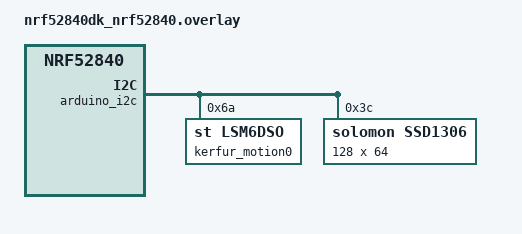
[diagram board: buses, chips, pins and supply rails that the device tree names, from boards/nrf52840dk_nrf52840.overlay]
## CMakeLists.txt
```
cmake_minimum_required(VERSION 3.20.0)

# CMake 4.1 on Windows can occasionally fail to materialize the platform-info
# directory before compiler detection writes CMake*Compiler.cmake files.
file(MAKE_DIRECTORY "${CMAKE_BINARY_DIR}/CMakeFiles/${CMAKE_VERSION}")

set(KERFUR_CONF_FILE "${CONF_FILE}")
if(NOT DEFINED CONF_FILE OR "${CONF_FILE}" STREQUAL "")
    set(KERFUR_CONF_FILE "${CMAKE_CURRENT_SOURCE_DIR}/prj.conf")
endif()

if("${BOARD}" STREQUAL "nice_nano" AND
   NOT "${KERFUR_CONF_FILE}" MATCHES "(^|[ ;])[^ ;]*prj_release\\.conf($|[ ;])")
    list(APPEND EXTRA_DTC_OVERLAY_FILE
         ${CMAKE_CURRENT_SOURCE_DIR}/boards/nice_nano_usb.overlay)
endif()

list(APPEND BOARD_ROOT ${CMAKE_CURRENT_SOURCE_DIR})
list(APPEND SHIELD_ROOT ${CMAKE_CURRENT_SOURCE_DIR})
find_package(Zephyr REQUIRED HINTS $ENV{ZEPHYR_BASE})
find_package(Python3 REQUIRED COMPONENTS Interpreter)

project(kerfur)

target_include_directories(app PRIVATE include)

set(KERFUR_FACE_JSON ${CMAKE_CURRENT_SOURCE_DIR}/assets/face/kerfur_faces.json)
set(KERFUR_FACE_CODEGEN ${CMAKE_CURRENT_SOURCE_DIR}/tools/face_codegen.py)
set(KERFUR_FACE_GEN_INCLUDE_DIR ${CMAKE_CURRENT_SOURCE_DIR}/include/ui/generated)
set(KERFUR_FACE_GEN_SRC_DIR ${CMAKE_CURRENT_SOURCE_DIR}/src/ui/generated)
set(KERFUR_FACE_GEN_HEADERS
    ${KERFUR_FACE_GEN_INCLUDE_DIR}/kerfur_face_assets.h
    ${KERFUR_FACE_GEN_INCLUDE_DIR}/kerfur_face_recipes.h
)
set(KERFUR_FACE_GEN_SOURCES
    ${KERFUR_FACE_GEN_SRC_DIR}/kerfur_face_assets.c
    ${KERFUR_FACE_GEN_SRC_DIR}/kerfur_face_recipes.c
)

file(GLOB_RECURSE KERFUR_FACE_ASSET_INPUTS
    RELATIVE ${CMAKE_CURRENT_SOURCE_DIR}
    assets/face/*.svg
    assets/face/*.json
    assets/face/*.bin
)
list(TRANSFORM KERFUR_FACE_ASSET_INPUTS PREPEND ${CMAKE_CURRENT_SOURCE_DIR}/)

add_custom_command(
    OUTPUT ${KERFUR_FACE_GEN_HEADERS} ${KERFUR_FACE_GEN_SOURCES}
    COMMAND ${Python3_EXECUTABLE} ${KERFUR_FACE_CODEGEN}
            --input ${KERFUR_FACE_JSON}
            --out-include ${KERFUR_FACE_GEN_INCLUDE_DIR}
            --out-src ${KERFUR_FACE_GEN_SRC_DIR}
    DEPENDS ${KERFUR_FACE_CODEGEN} ${KERFUR_FACE_ASSET_INPUTS}
    COMMENT "Generating Kerfur face assets and recipes"
    VERBATIM
)

target_sources(app PRIVATE
    src/main.c
    src/app/app.c
    src/core/event_bus.c
    src/behavior/appraisal.c
    src/behavior/behavior_engine.c
    src/behavior/micro_reaction.c
    src/display/display_policy.c
    src/ui/ui_renderer.c
    src/ui/face_runtime.c
    ${KERFUR_FACE_GEN_SOURCES}
    src/drivers/motion_sensor.c
    src/drivers/motion_classifier.c
    src/drivers/in_hand_detector.c
    src/drivers/mock_inputs.c
    src/drivers/touch_input.c
    src/drivers/touch_gestures.c
    src/power/power_manager.c
    src/ble/ble_manager.c
)

if(CONFIG_KERFUR_EMOTION_MEMORY)
    target_sources(app PRIVATE src/behavior/emotion_memory.c)
endif()

if(CONFIG_KERFUR_BATTERY)
    target_sources(app PRIVATE src/power/battery_monitor.c)
    if(CONFIG_KERFUR_CHARGER_BQ2563X)
        target_sources(app PRIVATE src/power/bq25630.c)
    endif()
endif()

if(CONFIG_KERFUR_TOUCH_IQS7222A)
    target_sources(app PRIVATE
        src/drivers/iqs7222a.c
        src/drivers/kerfur_iqs7222a_config.c
    )
endif()

if(CONFIG_KERFUR_ENABLE_NEARBY)
    target_sources(app PRIVATE
        src/nearby/kerfur_nearby.c
        src/nearby/encounter_log.c
    )
endif()

if(CONFIG_KERFUR_ENABLE_SHELL_CMDS)
    target_sources(app PRIVATE
        src/ble/ble_shell.c
    )
endif()
```

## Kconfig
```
source "Kconfig.zephyr"

menu "Kerfur Firmware"

config KERFUR_ENABLE_BLE
	bool "Enable Kerfur BLE connectivity stack"
	default y
	help
	  Enables connectable advertising, Kerfur GATT services and BLE event
	  plumbing used by iOS ANCS and Android companion integrations.

config KERFUR_ENABLE_ANCS
	bool "Enable iOS ANCS notification intake over BLE"
	default y
	depends on KERFUR_ENABLE_BLE
	help
	  Discovers and subscribes to Apple's ANCS Notification Source on
	  paired iOS devices. Incoming ANCS "notification added" events are
	  mapped to APP_EVENT_PHONE_NOTIFICATION.

config KERFUR_ENABLE_ANS_FALLBACK
	bool "Enable Alert Notification Service fallback client"
	default y
	depends on KERFUR_ENABLE_BLE
	help
	  Enables discovery of standard Alert Notification Service (UUID 0x1811)
	  on connected phones when ANCS is not available. This is best-effort:
	  many Android phones do not expose ANS at OS level.

config KERFUR_ENABLE_KEYRING_PROFILE
	bool "Enable keyring Find Me / Proximity profile"
	default n
	depends on KERFUR_ENABLE_BLE
	select BT_IAS
	select BT_TPS
	help
	  Enables standard BLE services typically used by key finder accessories:
	  Immediate Alert Service (0x1802), Link Loss Service (0x1803), and
	  TX Power Service (0x1804). This improves interoperability with generic
	  BLE tooling and keeps the device aligned with keyring appearance.

config KERFUR_ENABLE_COMPANION
	bool "Enable custom companion BLE channel (optional)"
	default n
	depends on KERFUR_ENABLE_BLE
	help
	  Enables custom Kerfur companion RX/TX characteristics for use with an
	  Android companion app. Keep disabled to minimize BLE footprint.

config KERFUR_ENABLE_RSC_SERVICE
	bool "Enable Running Speed and Cadence service scaffold"
	default n
	depends on KERFUR_ENABLE_BLE
	help
	  Exposes standard RSCS (UUID 0x1814) as future foundation for
	  pedometer/step cadence telemetry without custom BLE service.

config KERFUR_ENABLE_NEARBY
	bool "Enable Kerfur-to-Kerfur nearby detection"
	default y
	depends on KERFUR_ENABLE_BLE
	select BT_OBSERVER
	help
	  Enables an anonymous Kerfur nearby beacon (in scan response
	  manufacturer data) and a duty-cycled active scanner that tracks
	  other Kerfur devices, runs a small encounter state machine, and
	  feeds peer events into the behavior engine.

if KERFUR_ENABLE_NEARBY

config KERFUR_NEARBY_PEER_TABLE_SIZE
	int "Max tracked nearby peers"
	range 2 16
	default 8

config KERFUR_NEARBY_ENCOUNTER_LOG_SIZE
	int "Encounter log ring buffer size"
	range 4 64
	default 16

config KERFUR_NEARBY_RSSI_NEAR_DBM
	int "RSSI threshold to enter NEAR (dBm)"
	range -100 -30
	default -75

config KERFUR_NEARBY_RSSI_LOST_DBM
	int "RSSI hysteresis to leave NEAR (dBm)"
	range -100 -30
	default -90

config KERFUR_NEARBY_INTERACT_HOLD_MS
	int "Time stable in NEAR before INTERACTING (ms)"
	range 500 30000
	default 3000

config KERFUR_NEARBY_COOLDOWN_MS
	int "Cooldown after encounter ends (ms)"
	range 5000 600000
	default 60000

config KERFUR_NEARBY_ID_ROTATE_S
	int "Ephemeral id rotation period (s)"
	range 60 86400
	default 900

config KERFUR_NEARBY_MAX_FRIENDS
	int "Maximum confirmed-friend slots"
	range 0 128
	default 64
	help
	  Number of confirmed-friend relationships stored in settings and
	  recognized across ephemeral ID rotation. Set to 0 to disable
	  persistent friend recognition.

endif

config KERFUR_ENABLE_SHELL_CMDS
	bool "Enable Kerfur USB shell BLE maintenance commands"
	default y
	depends on KERFUR_ENABLE_BLE && SHELL
	help
	  Enables `kerfur ble ...` shell commands on USB serial backend.

config KERFUR_ENABLE_FACE_SHELL_CMDS
	bool "Enable Kerfur face debug shell commands"
	default n
	depends on KERFUR_ENABLE_SHELL_CMDS && KERFUR_FACE_DEBUG
	help
	  Enables `kerfur face ...` shell commands for debug-only expression,
	  reaction, gaze, carry-state and battery injection. Keep disabled in
	  normal builds so the face debug shell surface is compiled out.

config KERFUR_ENABLE_MOCK_INPUTS
	bool "Enable periodic mock external events"
	default y
	help
	  Keeps the pet behavior active before all real sensors are added.

config KERFUR_UI
	bool "Enable Kerfur OLED/LVGL UI"
	default y
	depends on DISPLAY && LVGL
	help
	  Enables the OLED/LVGL face renderer and face asset pipeline. Disable this
	  for a headless BLE or sensor test build that should keep running without a
	  display.

config KERFUR_MOTION
	bool "Enable Kerfur motion sensing and classification"
	default y
	select SENSOR
	imply LSM6DSO
	imply LSM6DSO_TILT
	help
	  Enables the IMU abstraction, motion classifier, pickup and in-hand
	  detection, and tilt-driven gaze integration. If no `motion0` DT alias
	  exists, the firmware still builds and the motion stack remains disabled
	  at runtime.

if KERFUR_MOTION

config KERFUR_MOTION_IDLE_ODR_HZ
	int "Idle accelerometer sampling rate (Hz)"
	range 1 26
	default 12
	help
	  Target low-power accelerometer rate while waiting for motion wake.

config KERFUR_MOTION_ACTIVE_ODR_HZ
	int "Active accelerometer sampling rate (Hz)"
	range 12 104
	default 26
	help
	  Target accelerometer rate used during active classification windows.

config KERFUR_MOTION_ACTIVE_WINDOW_MS
	int "Active classification window (ms)"
	range 500 10000
	default 3000
	help
	  Duration of the motion analysis burst after a wake trigger.

config KERFUR_MOTION_STEP_BATCH_SIZE
	int "Step batch publish size"
	range 1 32
	default 8
	help
	  Number of accumulated steps before publishing APP_EVENT_STEP_BATCH.

config KERFUR_MOTION_WALK_START_THRESHOLD
	int "Walking start confidence threshold"
	range 1 100
	default 70
	help
	  Walking begins when confidence reaches this threshold.

config KERFUR_MOTION_WALK_STOP_THRESHOLD
	int "Walking stop confidence threshold"
	range 1 100
	default 45
	help
	  Walking ends when confidence falls below this threshold.

config KERFUR_MOTION_GAZE_RATE_HZ
	int "Maximum tilt gaze update rate (Hz)"
	range 1 20
	default 10
	help
	  Maximum rate for LOOK_TARGET updates while tracking in-hand tilt.

config KERFUR_MOTION_GAZE_TILT_DIVISOR_MG
	int "Tilt amount needed for full-scale gaze target (mg)"
	range 80 600
	default 170
	help
	  Lower values make pupils react more strongly to tilt. This is applied
	  after board axis remapping and relative in-hand neutral capture.

config KERFUR_MOTION_AXIS_SWAP_XY
	bool "Swap motion sensor X and Y axes"
	default n
	help
	  Use when the IMU is mounted rotated 90 degrees relative to the display.

config KERFUR_MOTION_AXIS_INVERT_X
	bool "Invert motion sensor X axis"
	default n
	help
	  Use when left-right tilt is mirrored relative to the display.

config KERFUR_MOTION_AXIS_INVERT_Y
	bool "Invert motion sensor Y axis"
	default n
	help
	  Use when up-down tilt is mirrored relative to the display.

config KERFUR_MOTION_AXIS_INVERT_Z
	bool "Invert motion sensor Z axis"
	default n
	help
	  Use when the IMU is mounted on the opposite side of the display plane.

endif

config KERFUR_IDLE_TIMEOUT_S
	int "Idle timeout (seconds)"
	range 5 3600
	default 45
	help
	  Time without real user interaction before APP_EVENT_IDLE_TIMEOUT.

config KERFUR_DISPLAY_BLANK_TIMEOUT_S
	int "Display blank timeout (seconds)"
	range 10 7200
	default 90
	help
	  Time without real user interaction before display blanking.

config KERFUR_SLEEP_REQUEST_TIMEOUT_S
	int "Sleep request timeout (seconds)"
	range 20 14400
	default 180
	help
	  Time without real user interaction before APP_EVENT_SLEEP_REQUEST.

config KERFUR_UI_FRAME_MS
	int "UI frame period (milliseconds)"
	range 50 1000
	default 120
	help
	  Controls renderer update cadence. Lower is smoother and costs power.

config KERFUR_TRACE_EVENTS
	bool "Verbose app event/state tracing"
	default y
	help
	  Adds extra runtime logs in app/core/behavior/power paths for
	  easier bring-up and troubleshooting.

config KERFUR_FACE_DEBUG
	bool "Enable modular face debug hooks"
	default y
	help
	  Enables face-state debug events and shell-triggered dump plumbing for
	  the modular face rewrite.

config KERFUR_FACE_DEBUG_VERBOSE
	bool "Enable verbose modular face debug logging"
	default n
	depends on KERFUR_FACE_DEBUG
	help
	  Adds detailed face snapshot logs for look/carry/battery updates and
	  debug-dump requests.

endmenu
```

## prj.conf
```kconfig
CONFIG_LOG=y
CONFIG_LOG_DEFAULT_LEVEL=3
CONFIG_LOG_BACKEND_UART=y

CONFIG_ASSERT=y
CONFIG_MAIN_STACK_SIZE=4096

CONFIG_SERIAL=y
CONFIG_CONSOLE=y
CONFIG_UART_CONSOLE=y
CONFIG_STDOUT_CONSOLE=y
CONFIG_UART_LINE_CTRL=y
CONFIG_SHELL=y
CONFIG_SHELL_BACKEND_SERIAL=y
CONFIG_SHELL_BACKEND_SERIAL_CHECK_DTR=y
CONFIG_KERFUR_ENABLE_SHELL_CMDS=y

CONFIG_USB_DEVICE_STACK=y
CONFIG_USB_DEVICE_STACK_NEXT=n
CONFIG_USB_DEVICE_INITIALIZE_AT_BOOT=y
CONFIG_USB_DEVICE_PRODUCT="Kerfur USB Logs"
CONFIG_USB_DEVICE_PID=0x0004
CONFIG_USB_CDC_ACM=y

CONFIG_GPIO=y
CONFIG_I2C=y
CONFIG_SENSOR=y
CONFIG_LSM6DSO_TRIGGER_OWN_THREAD=y
CONFIG_LSM6DSO_TILT=y
CONFIG_DISPLAY=y
CONFIG_SSD1306=y
CONFIG_SSD1306_DEFAULT_CONTRAST=255
CONFIG_LVGL=y
CONFIG_LV_Z_MEM_POOL_SIZE=8192
CONFIG_LV_Z_RUN_LVGL_ON_WORKQUEUE=n
CONFIG_LV_USE_LOG=n

CONFIG_BT=y
CONFIG_BT_PERIPHERAL=y
CONFIG_BT_OBSERVER=y
CONFIG_BT_DEVICE_NAME="Kerfur"
CONFIG_BT_DEVICE_APPEARANCE=576
CONFIG_BT_MAX_CONN=1
CONFIG_BT_GATT_CLIENT=y
CONFIG_BT_GATT_AUTO_DISCOVER_CCC=y
# The firmware re-discovers and subscribes ANCS/ANS on every connection.
# Do not let Zephyr retain subscription params across disconnects.
CONFIG_BT_GATT_AUTO_RESUBSCRIBE=n
CONFIG_BT_BAS=y
CONFIG_BT_DIS=y
CONFIG_BT_SMP=y
CONFIG_BT_BONDABLE=y
CONFIG_BT_SMP_ENFORCE_MITM=n
CONFIG_BT_MAX_PAIRED=4
CONFIG_BT_SETTINGS=y
CONFIG_BT_KEYS_OVERWRITE_OLDEST=y
CONFIG_BT_SECURITY_ERR_TO_STR=y
CONFIG_BT_GATT_SERVICE_CHANGED=y
CONFIG_BT_GATT_CACHING=y

CONFIG_FLASH=y
CONFIG_FLASH_MAP=y
CONFIG_NVS=y
CONFIG_SETTINGS=y
CONFIG_SETTINGS_NVS=y

CONFIG_KERFUR_MOTION=y
# CONFIG_KERFUR_MOTION_AXIS_INVERT_X=y
# CONFIG_KERFUR_MOTION_AXIS_INVERT_Y=y
CONFIG_KERFUR_MOTION_GAZE_TILT_DIVISOR_MG=80
CONFIG_KERFUR_FACE_DEBUG=y
CONFIG_KERFUR_ENABLE_FACE_SHELL_CMDS=y
CONFIG_KERFUR_ENABLE_MOCK_INPUTS=n
CONFIG_KERFUR_ENABLE_ANCS=y
```

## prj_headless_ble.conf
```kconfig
CONFIG_KERFUR_UI=n
CONFIG_DISPLAY=n
CONFIG_LVGL=n
CONFIG_SSD1306=n
```

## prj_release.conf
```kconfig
CONFIG_LOG=n
CONFIG_ASSERT=n
CONFIG_MAIN_STACK_SIZE=4096

CONFIG_SERIAL=y
CONFIG_CONSOLE=y
CONFIG_UART_CONSOLE=y
CONFIG_STDOUT_CONSOLE=y
CONFIG_UART_LINE_CTRL=y
CONFIG_SHELL=y
CONFIG_SHELL_BACKEND_SERIAL=y
CONFIG_SHELL_BACKEND_SERIAL_CHECK_DTR=y
CONFIG_KERFUR_ENABLE_SHELL_CMDS=y
CONFIG_KERFUR_FACE_DEBUG=y

CONFIG_USB_DEVICE_STACK=n
CONFIG_USB_DEVICE_STACK_NEXT=n
CONFIG_USB_DEVICE_INITIALIZE_AT_BOOT=n
CONFIG_USB_CDC_ACM=n

CONFIG_GPIO=y
CONFIG_I2C=y
CONFIG_SENSOR=y
CONFIG_LSM6DSO_TRIGGER_OWN_THREAD=y
CONFIG_LSM6DSO_TILT=y
CONFIG_DISPLAY=y
CONFIG_SSD1306=y
CONFIG_SSD1306_DEFAULT_CONTRAST=255
CONFIG_LVGL=y
CONFIG_LV_CONF_MINIMAL=y
CONFIG_LV_Z_MEM_POOL_SIZE=8192
CONFIG_LV_Z_RUN_LVGL_ON_WORKQUEUE=n
CONFIG_LV_USE_LOG=n
CONFIG_LV_USE_IMAGE=y
CONFIG_LV_USE_CANVAS=y
CONFIG_LV_USE_LABEL=y

CONFIG_BT=y
CONFIG_BT_PERIPHERAL=y
CONFIG_BT_OBSERVER=y
CONFIG_BT_DEVICE_NAME="Kerfur"
CONFIG_BT_DEVICE_APPEARANCE=576
CONFIG_BT_MAX_CONN=1
CONFIG_BT_GATT_CLIENT=y
CONFIG_BT_GATT_AUTO_DISCOVER_CCC=y
CONFIG_BT_BAS=y
CONFIG_BT_DIS=n
CONFIG_BT_SMP=y
CONFIG_BT_BONDABLE=y
CONFIG_BT_SMP_ENFORCE_MITM=n
CONFIG_BT_SMP_SC_PAIR_ONLY=n
CONFIG_BT_MAX_PAIRED=4
CONFIG_BT_SETTINGS=y
CONFIG_BT_KEYS_OVERWRITE_OLDEST=y
CONFIG_BT_SECURITY_ERR_TO_STR=y
CONFIG_KERFUR_ENABLE_KEYRING_PROFILE=n

CONFIG_FLASH=y
CONFIG_FLASH_MAP=y
CONFIG_NVS=y
CONFIG_SETTINGS=y
CONFIG_SETTINGS_NVS=y

CONFIG_KERFUR_ENABLE_MOCK_INPUTS=n
```

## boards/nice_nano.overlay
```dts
#include <zephyr/dt-bindings/gpio/gpio.h>
#include <zephyr/dt-bindings/sensor/lsm6dso.h>

/ {
	chosen {
		zephyr,console = &pro_micro_serial;
		zephyr,shell-uart = &pro_micro_serial;
	};

	aliases {
		touch0 = &pet_touch0;
		motion0 = &kerfur_motion0;
	};

	/*
	 * LSM6DSOX bring-up:
	 * - default address here is 0x6a; change to 0x6b if your SA0/SDO strap is high
	 * - runtime code supports polling-only test mode if INT is not wired yet
	 * - once INT is wired, add `irq-gpios` and `int-pin` to enable tilt wake
	 */

	/*
	 * Digital touch sensor input (default pin P0.31 / D21).
	 * Adjust this pin/flags to match your touch module output.
	 */
	touch_inputs {
		compatible = "gpio-keys";

		pet_touch0: pet_touch_0 {
			label = "PET_TOUCH_0";
			gpios = <&gpio0 31 (GPIO_PULL_UP | GPIO_ACTIVE_LOW)>;
		};
	};
};

&pro_micro_i2c {
	status = "okay";

	kerfur_motion0: lsm6dso@6a {
		compatible = "st,lsm6dso";
		reg = <0x6a>;
		accel-pm = <LSM6DSO_DT_XL_LP_NORMAL_MODE>;
		accel-range = <LSM6DSO_DT_FS_2G>;
		accel-odr = <LSM6DSO_DT_ODR_12Hz5>;
		gyro-pm = <LSM6DSO_DT_GY_NORMAL_MODE>;
		gyro-range = <LSM6DSO_DT_FS_250DPS>;
		gyro-odr = <LSM6DSO_DT_ODR_OFF>;
		status = "okay";
		
		 int-pin = <1>;
		 irq-gpios = <&gpio1 0 GPIO_ACTIVE_HIGH>;
		
	};
};

/*
 * nice!nano note:
 * P0.13 controls external VCC switch; HIGH can cut VCC rail.
 * Hold it LOW by default so external peripherals (OLED, sensors) stay powered.
 */
&gpio0 {
	ext_power_default_on {
		gpio-hog;
		gpios = <13 GPIO_ACTIVE_HIGH>;
		output-low;
		line-name = "ext_vcc_on";
	};
};
```

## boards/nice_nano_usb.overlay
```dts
/ {
	chosen {
		zephyr,console = &cdc_acm_uart0;
		zephyr,shell-uart = &cdc_acm_uart0;
	};
};

&usbd {
	cdc_acm_uart0: cdc_acm_uart0 {
		compatible = "zephyr,cdc-acm-uart";
	};
};
```

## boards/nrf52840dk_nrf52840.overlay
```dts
#include <zephyr/dt-bindings/sensor/lsm6dso.h>

/ {
	chosen {
		/* Point this at your display node if your board uses another panel. */
		zephyr,display = &ssd1306;
	};

	aliases {
		motion0 = &kerfur_motion0;
	};
};

&arduino_i2c {
	status = "okay";

	kerfur_motion0: lsm6dso@6a {
		compatible = "st,lsm6dso";
		reg = <0x6a>;
		accel-pm = <LSM6DSO_DT_XL_LP_NORMAL_MODE>;
		accel-range = <LSM6DSO_DT_FS_2G>;
		accel-odr = <LSM6DSO_DT_ODR_12Hz5>;
		gyro-pm = <LSM6DSO_DT_GY_NORMAL_MODE>;
		gyro-range = <LSM6DSO_DT_FS_250DPS>;
		gyro-odr = <LSM6DSO_DT_ODR_OFF>;
		status = "okay";
		/*
		 * Default address here is 0x6a; switch to 0x6b if SA0/SDO is high.
		 * Add `irq-gpios` and `int-pin` once the interrupt line is wired.
		 */
	};

	ssd1306: ssd1306@3c {
		compatible = "solomon,ssd1306";
		reg = <0x3c>;
		width = <128>;
		height = <64>;
		segment-offset = <0>;
		page-offset = <0>;
		display-offset = <0>;
		multiplex-ratio = <63>;
		segment-remap;
		com-invdir;
		prechargep = <0x22>;
		status = "okay";
	};
};
```

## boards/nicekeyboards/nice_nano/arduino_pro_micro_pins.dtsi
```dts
/*
 * Arduino Pro Micro connector mapping for nice!nano form factor.
 */

/ {
	pro_micro: connector {
		compatible = "arduino-pro-micro";
		#gpio-cells = <2>;
		gpio-map-mask = <0xffffffff 0xffffffc0>;
		gpio-map-pass-thru = <0 0x3f>;
		gpio-map
			= <0 0 &gpio0 8 0>      /* D0 */
			, <1 0 &gpio0 6 0>      /* D1 */
			, <2 0 &gpio0 17 0>     /* D2 */
			, <3 0 &gpio0 20 0>     /* D3 */
			, <4 0 &gpio0 22 0>     /* D4/A6 */
			, <5 0 &gpio0 24 0>     /* D5 */
			, <6 0 &gpio1 0 0>      /* D6/A7 */
			, <7 0 &gpio0 11 0>     /* D7 */
			, <8 0 &gpio1 4 0>      /* D8/A8 */
			, <9 0 &gpio1 6 0>      /* D9/A9 */
			, <10 0 &gpio0 9 0>     /* D10/A10 */
			, <16 0 &gpio0 10 0>    /* D16 */
			, <14 0 &gpio1 11 0>    /* D14 */
			, <15 0 &gpio1 13 0>    /* D15 */
			, <18 0 &gpio1 15 0>    /* D18/A0 */
			, <19 0 &gpio0 2 0>     /* D19/A1 */
			, <20 0 &gpio0 29 0>    /* D20/A2 */
			, <21 0 &gpio0 31 0>    /* D21/A3 */
			;
	};
};

pro_micro_d: &pro_micro {};
pro_micro_i2c: &i2c0 {};
pro_micro_spi: &spi1 {};
pro_micro_serial: &uart0 {};
```

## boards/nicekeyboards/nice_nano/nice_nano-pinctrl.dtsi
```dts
/*
 * Derived from nice!nano pin mapping.
 */

&pinctrl {
	uart0_default: uart0_default {
		group1 {
			psels = <NRF_PSEL(UART_RX, 0, 8)>;
			bias-pull-up;
		};
		group2 {
			psels = <NRF_PSEL(UART_TX, 0, 6)>;
		};
	};

	uart0_sleep: uart0_sleep {
		group1 {
			psels = <NRF_PSEL(UART_RX, 0, 8)>,
				<NRF_PSEL(UART_TX, 0, 6)>;
			low-power-enable;
		};
	};

	i2c0_default: i2c0_default {
		group1 {
			psels = <NRF_PSEL(TWIM_SDA, 0, 17)>,
				<NRF_PSEL(TWIM_SCL, 0, 20)>;
		};
	};

	i2c0_sleep: i2c0_sleep {
		group1 {
			psels = <NRF_PSEL(TWIM_SDA, 0, 17)>,
				<NRF_PSEL(TWIM_SCL, 0, 20)>;
			low-power-enable;
		};
	};

	spi1_default: spi1_default {
		group1 {
			psels = <NRF_PSEL(SPIM_SCK, 1, 13)>,
				<NRF_PSEL(SPIM_MOSI, 0, 10)>,
				<NRF_PSEL(SPIM_MISO, 1, 11)>;
		};
	};

	spi1_sleep: spi1_sleep {
		group1 {
			psels = <NRF_PSEL(SPIM_SCK, 1, 13)>,
				<NRF_PSEL(SPIM_MOSI, 0, 10)>,
				<NRF_PSEL(SPIM_MISO, 1, 11)>;
			low-power-enable;
		};
	};
};
```

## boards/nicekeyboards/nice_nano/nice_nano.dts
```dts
/*
 * Local nice!nano board base for Zephyr applications outside ZMK.
 */

/dts-v1/;
#include <nordic/nrf52840_qiaa.dtsi>
#include "nice_nano-pinctrl.dtsi"
#include "arduino_pro_micro_pins.dtsi"

/ {
	model = "nice!nano";
	compatible = "nice,nano";

	chosen {
		zephyr,code-partition = &code_partition;
		zephyr,sram = &sram0;
		zephyr,flash = &flash0;
	};

	leds {
		compatible = "gpio-leds";
		blue_led: led_0 {
			gpios = <&gpio0 15 GPIO_ACTIVE_HIGH>;
		};
	};
};

&adc {
	status = "okay";
};

&gpiote {
	status = "okay";
};

&gpio0 {
	status = "okay";
};

&gpio1 {
	status = "okay";
};

&i2c0 {
	compatible = "nordic,nrf-twi";
	pinctrl-0 = <&i2c0_default>;
	pinctrl-1 = <&i2c0_sleep>;
	pinctrl-names = "default", "sleep";
	status = "okay";
};

&spi1 {
	compatible = "nordic,nrf-spim";
	pinctrl-0 = <&spi1_default>;
	pinctrl-1 = <&spi1_sleep>;
	pinctrl-names = "default", "sleep";
	status = "okay";
};

&uart0 {
	compatible = "nordic,nrf-uarte";
	current-speed = <115200>;
	pinctrl-0 = <&uart0_default>;
	pinctrl-1 = <&uart0_sleep>;
	pinctrl-names = "default", "sleep";
	status = "okay";
};

&usbd {
	status = "okay";
};

&flash0 {
	partitions {
		compatible = "fixed-partitions";
		#address-cells = <1>;
		#size-cells = <1>;

		sd_partition: partition@0 {
			reg = <0x00000000 0x00026000>;
		};

		code_partition: partition@26000 {
			reg = <0x00026000 0x000c6000>;
		};

		storage_partition: partition@ec000 {
			reg = <0x000ec000 0x00008000>;
		};

		boot_partition: partition@f4000 {
			reg = <0x000f4000 0x0000c000>;
		};
	};
};
```

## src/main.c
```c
#include <zephyr/kernel.h>

#include "app/app.h"

int main(void)
{
	return app_run();
}
```
